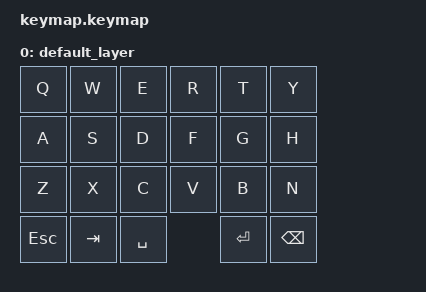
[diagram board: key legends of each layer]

/ {
    keymap {
        compatible = "zmk,keymap";

        default_layer {
            bindings = <
                &kp Q  &kp W  &kp E  &kp R  &kp T  &kp Y
                &kp A  &kp S  &kp D  &kp F  &kp G  &kp H
                &kp Z  &kp X  &kp C  &kp V  &kp B  &kp N
                &kp ESC &kp TAB &kp SPACE &kp ENTER &kp BSPC
            >;
        };
    };
};
